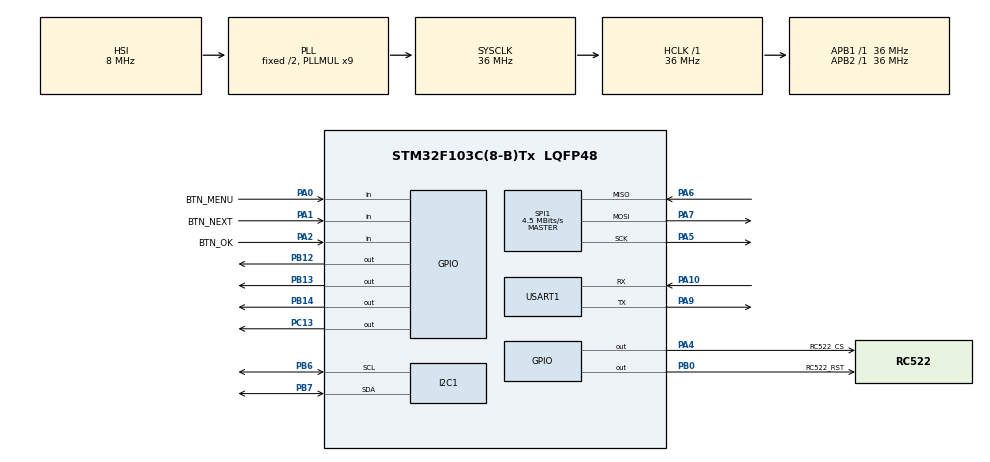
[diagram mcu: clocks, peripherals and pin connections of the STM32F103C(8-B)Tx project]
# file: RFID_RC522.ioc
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Mcu.Family=STM32F1
Mcu.Name=STM32F103C(8-B)Tx
Mcu.Package=LQFP48
NVIC.PriorityGroup=NVIC_PRIORITYGROUP_4
NVIC.USART1_IRQn=true\:0\:0\:false\:false\:true\:true\:true\:true
PA0-WKUP.GPIO_Label=BTN_MENU
PA0-WKUP.GPIO_Mode=GPIO_MODE_INPUT
PA0-WKUP.GPIO_PuPd=GPIO_PULLUP
PA0-WKUP.Signal=GPIO_Input
PA1.GPIO_Label=BTN_NEXT
PA1.GPIO_PuPd=GPIO_PULLUP
PA1.Signal=GPIO_Input
PA10.Mode=Asynchronous
PA10.Signal=USART1_RX
PA13.Mode=Serial_Wire
PA13.Signal=SYS_JTMS-SWDIO
PA14.Mode=Serial_Wire
PA14.Signal=SYS_JTCK-SWCLK
PA2.GPIO_Label=BTN_OK
PA2.GPIO_PuPd=GPIO_PULLUP
PA2.Signal=GPIO_Input
PA4.GPIO_Label=RC522_CS
PA4.PinState=GPIO_PIN_SET
PA4.Signal=GPIO_Output
PA5.Mode=Full_Duplex_Master
PA5.Signal=SPI1_SCK
PA6.Mode=Full_Duplex_Master
PA6.Signal=SPI1_MISO
PA7.Mode=Full_Duplex_Master
PA7.Signal=SPI1_MOSI
PA9.Mode=Asynchronous
PA9.Signal=USART1_TX
PB0.GPIO_Label=RC522_RST
PB0.PinState=GPIO_PIN_SET
PB0.Signal=GPIO_Output
PB12.Signal=GPIO_Output
PB13.Signal=GPIO_Output
PB14.Signal=GPIO_Output
PB6.Mode=I2C
PB6.Signal=I2C1_SCL
PB7.Mode=I2C
PB7.Signal=I2C1_SDA
PC13-TAMPER-RTC.Signal=GPIO_Output
PC14-OSC32_IN.Mode=LSE-External-Oscillator
PC14-OSC32_IN.Signal=RCC_OSC32_IN
PC15-OSC32_OUT.Mode=LSE-External-Oscillator
PC15-OSC32_OUT.Signal=RCC_OSC32_OUT
ProjectManager.HeapSize=0x200
ProjectManager.StackSize=0x400
ProjectManager.TargetToolchain=STM32CubeIDE
RCC.AHBFreq_Value=36000000
RCC.APB1Freq_Value=36000000
RCC.APB1TimFreq_Value=36000000
RCC.APB2Freq_Value=36000000
RCC.APB2TimFreq_Value=36000000
RCC.HCLKFreq_Value=36000000
RCC.PLLMUL=RCC_PLL_MUL9
RCC.SYSCLKFreq_VALUE=36000000
RCC.SYSCLKSource=RCC_SYSCLKSOURCE_PLLCLK
RCC.USBFreq_Value=36000000
SPI1.BaudRatePrescaler=SPI_BAUDRATEPRESCALER_8
SPI1.CalculateBaudRate=4.5 MBits/s
SPI1.Direction=SPI_DIRECTION_2LINES
SPI1.Mode=SPI_MODE_MASTER
SPI1.VirtualType=VM_MASTER
USART1.VirtualMode=VM_ASYNC
VP_RTC_No_RTC_Output.Mode=RTC_OUT_NO
VP_RTC_VS_RTC_Activate.Mode=RTC_Enabled
board=custom

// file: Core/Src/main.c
/* USER CODE BEGIN Header */
/**
  ******************************************************************************
  * @file           : main.c
  * @brief          : Main program body
  ******************************************************************************
  * @attention
  *
  * Copyright (c) 2026 STMicroelectronics.
  * All rights reserved.
  *
  * This software is licensed under terms that can be found in the LICENSE file
  * in the root directory of this software component.
  * If no LICENSE file comes with this software, it is provided AS-IS.
  *
  ******************************************************************************
  */
/* USER CODE END Header */
#include "main.h"

/* USER CODE BEGIN Includes */
#include "rfid_app.h"
#include <string.h>
#include <stdio.h>
#include "OLED.h"
#include "rc522.h"
#include "card_db.h"
#include "admin.h"
#include "flash.h"
#include "attlog.h"
#include "rtc_clock.h"
#include "uart_cmd.h"
#include "attendance.h"
/* USER CODE END Includes */

/* USER CODE BEGIN PTD */
#define APP_DEMO_MODE      0
/* USER CODE END PTD */

/* USER CODE BEGIN PD */

#define RESULT_SHOW_MS     3000u
/* USER CODE END PD */

I2C_HandleTypeDef hi2c1;

RTC_HandleTypeDef hrtc;

SPI_HandleTypeDef hspi1;

UART_HandleTypeDef huart1;

/* USER CODE BEGIN PV */
extern volatile RC522_UID rfid_last_uid;
extern volatile uint32_t  rfid_event_count;
/* USER CODE END PV */

void SystemClock_Config(void);
static void MX_GPIO_Init(void);
static void MX_SPI1_Init(void);
static void MX_USART1_UART_Init(void);
static void MX_I2C1_Init(void);
static void MX_RTC_Init(void);
/* USER CODE BEGIN PFP */
static void Uid_To_HexStr(const uint8_t *uid, uint8_t uid_len, char *out, size_t out_size);
static void App_ShowIdle(void);
static void App_ShowCardResult(const uint8_t *uid, uint8_t uid_len);
/* USER CODE END PFP */

/* USER CODE BEGIN 0 */
/* Chuyen UID dang byte sang chuoi hex, vd {0x12,0x34} -> "1234" */
static void Uid_To_HexStr(const uint8_t *uid, uint8_t uid_len, char *out, size_t out_size)
{
    size_t offset = 0;

    if ((out == NULL) || (out_size == 0u)) return;
    for (uint8_t i = 0; (uid != NULL) && (i < uid_len) && (offset + 2u < out_size); i++)
    {
        offset += (size_t)snprintf(out + offset, out_size - offset, "%02X", uid[i]);
    }
    out[offset] = '\0';
}

/* Man hinh cho (ve lai moi giay de cap nhat dong ho) */
static void App_ShowIdle(void)
{
    OLED_Clear();
    OLED_PrintCenter(0, "RFID ATTENDANCE");

    if (rtc_clock_is_set())
    {
        RtcDateTime dt;
        rtc_clock_to_datetime(rtc_clock_now(), &dt);
        OLED_Printf(1, " %02u/%02u/%04u %02u:%02u:%02u",
                    (unsigned)dt.day, (unsigned)dt.month, (unsigned)dt.year,
                    (unsigned)dt.hour, (unsigned)dt.minute, (unsigned)dt.second);
    }
    else
    {
        OLED_PrintCenter(1, "CLOCK NOT SET");
    }

    OLED_Printf(2, "Cards: %u  Admins: %u",
                (unsigned)card_db_count(), (unsigned)admin_get_count());
    OLED_Printf(3, "Present: %u/%u",
                (unsigned)attendance_count(), (unsigned)card_db_count());
    OLED_Printf(4, "Log: %u/%u",
                (unsigned)attlog_count(), (unsigned)attlog_capacity());

    if (admin_get_count() == 0u)
    {
        OLED_PrintCenter(6, "NO ADMIN CARD");
        OLED_PrintCenter(7, "Press MENU to setup");
    }
    else
    {
        OLED_PrintCenter(6, "Scan card to check in");
    }
    (void)OLED_Update();
}

/* Cham the nguoi dung = DIEM DANH:
 *   - hien ket qua len OLED
 *   - ghi nhat ky Flash (attlog) kem thoi gian RTC
 *   - gui 1 dong CSV qua UART:  ATT,<date>,<time>,<id>,"<ten>",<uid>,<ket qua> */
static void App_ShowCardResult(const uint8_t *uid, uint8_t uid_len)
{
    const CardEntry *entry = card_db_find_by_uid(uid, uid_len);
    char uid_str[2u * CARD_UID_MAX_LEN + 1u];
    char ts[24];
    char log[128];
    char id[12] = "-";
    AttLogResult res;
    AttTime t = {0};

    Uid_To_HexStr(uid, uid_len, uid_str, sizeof(uid_str));
    rtc_clock_format(rtc_clock_now(), ts, sizeof(ts));
    ts[10] = ',';                                   /* tach cot ngay, gio */

    OLED_Clear();
    if (entry == NULL)
    {
        res = ATTLOG_UNKNOWN;
        OLED_PrintCenter(0, "UNKNOWN CARD");
        OLED_PrintCenter(2, "Not registered");
    }
    else
    {
        (void)snprintf(id, sizeof(id), "%lu", (unsigned long)entry->card_id);
        if (!entry->enabled)
        {
            res = ATTLOG_LOCKED;
            OLED_PrintCenter(0, "CARD LOCKED");
            OLED_PrintCenter(2, entry->name);
            OLED_PrintCenter(4, "Contact admin");
        }
        else
        {
            AttResult r = attendance_check_in(entry->card_id, &t);
            res = (r == ATT_CHECKED_IN) ? ATTLOG_OK : ATTLOG_AGAIN;
            OLED_PrintCenter(0, (r == ATT_CHECKED_IN) ? "CHECK-IN OK" : "ALREADY CHECKED");
            OLED_PrintCenter(2, entry->name);
            OLED_Printf(3, "ID: %s", id);
            OLED_Printf(4, "Time: %02u:%02u:%02u",
                        (unsigned)t.hours, (unsigned)t.minutes, (unsigned)t.seconds);
        }
    }

    /* Ghi nhat ky Flash (quet lai trong ngay thi bo qua neu ATTLOG_SAVE_REPEAT = 0) */
    if ((res != ATTLOG_AGAIN) || ATTLOG_SAVE_REPEAT)
    {
        if (!attlog_append(res, (entry != NULL) ? entry->card_id : 0u, uid, uid_len))
        {
            uart_cmd_print("ERR: log write failed\r\n");
        }
    }

    OLED_Printf(6, "Present: %u/%u",
                (unsigned)attendance_count(), (unsigned)card_db_count());
    OLED_Printf(7, "UID:%s", uid_str);
    (void)OLED_Update();

    (void)snprintf(log, sizeof(log), "ATT,%s,%s,\"%s\",%s,%s\r\n",
                   ts, id, (entry != NULL) ? entry->name : "", uid_str,
                   attlog_result_str((uint8_t)res));
    uart_cmd_print(log);
}

/* USER CODE END 0 */

int main(void)
{

  /* USER CODE BEGIN 1 */
  uint32_t last_event = 0;
  uint32_t result_until = 0;
  uint32_t last_clock_sec = 0;
  uint8_t  showing_result = 0;
  /* USER CODE END 1 */

  /* MCU Configuration--------------------------------------------------------*/

  /* Reset of all peripherals, Initializes the Flash interface and the Systick. */
  HAL_Init();

  /* Configure the system clock */
  SystemClock_Config();

  /* USER CODE BEGIN SysInit */
  HAL_Delay(2000);   /* cho OLED va RC522 on dinh nguon */
  /* USER CODE END SysInit */

  /* Initialize all configured peripherals */
  MX_GPIO_Init();
  MX_SPI1_Init();
  MX_USART1_UART_Init();
  MX_I2C1_Init();
  MX_RTC_Init();
  /* USER CODE BEGIN 2 */
  uart_cmd_init(&huart1);
  if (!OLED_Init(&hi2c1))
  {
      uart_cmd_print("OLED init FAILED\r\n");
  }

  /* Thu tu khoi tao quan trong: the/admin -> dong ho -> nhat ky -> diem danh */
  card_db_init();
  admin_init();
  if (!flash_store_load())
  {
      uart_cmd_print("FLASH: no card data, press MENU to add first admin card\r\n");
  }
  rtc_clock_init(&hrtc);
  attlog_init();
  attendance_init();
  attendance_restore_from_log();     /* mat dien giua buoi van giu danh sach co mat */

  {
      char buf[96];
      char ts[24];
      rtc_clock_format(rtc_clock_now(), ts, sizeof(ts));
      (void)snprintf(buf, sizeof(buf), "BOOT: cards=%u log=%u/%u time=%s%s\r\n",
                     (unsigned)card_db_count(), (unsigned)attlog_count(),
                     (unsigned)attlog_capacity(), ts,
                     rtc_clock_is_set() ? "" : " (NOT SET: TIME YYYY-MM-DD HH:MM:SS)");
      uart_cmd_print(buf);
  }

  RFID_App_Init(&hspi1, &huart1);

  App_ShowIdle();
  last_event = rfid_event_count;
  last_clock_sec = rtc_clock_now();
  /* USER CODE END 2 */

  /* Infinite loop */
  while (1)
  {

    /* USER CODE BEGIN 3 */
    RFID_App_Task();   /* quet RC522 (khong chan), cap nhat rfid_last_uid */
    uart_cmd_task();   /* lenh UART: TIME, LOG, LIST, NAME, STAT... */

    /* Nut bam + menu admin; tra true khi vua thoat che do admin */
    if (admin_task())
    {
        showing_result = 0;
        App_ShowIdle();
    }

    /* Co the moi duoc quet */
    if (rfid_event_count != last_event)
    {
        RC522_UID uid;

        last_event = rfid_event_count;
        uid.size = rfid_last_uid.size;
        if (uid.size > sizeof(uid.bytes)) uid.size = sizeof(uid.bytes);
        for (uint8_t i = 0; i < uid.size; i++) uid.bytes[i] = rfid_last_uid.bytes[i];

        if (admin_is_active())
        {
            admin_on_card(uid.bytes, uid.size);          /* dang o menu admin */
        }
        else if (admin_is_admin_uid(uid.bytes, uid.size))
        {
            showing_result = 0;
            uart_cmd_print("ADMIN: login\r\n");
            admin_enter();                               /* the admin -> vao menu */
        }
        else
        {
            App_ShowCardResult(uid.bytes, uid.size);     /* the nguoi dung -> diem danh */
            result_until = HAL_GetTick() + RESULT_SHOW_MS;
            showing_result = 1;
        }
    }

    if (!admin_is_active())
    {
        /* Het thoi gian hien ket qua -> ve man hinh cho */
        if (showing_result && (int32_t)(HAL_GetTick() - result_until) >= 0)
        {
            showing_result = 0;
            App_ShowIdle();
        }
        /* Man hinh cho: cap nhat dong ho moi giay */
        else if (!showing_result && (rtc_clock_now() != last_clock_sec))
        {
            last_clock_sec = rtc_clock_now();
            App_ShowIdle();
        }
    }
  }
  /* USER CODE END 3 */
}

void SystemClock_Config(void)
{
  RCC_OscInitTypeDef RCC_OscInitStruct = {0};
  RCC_ClkInitTypeDef RCC_ClkInitStruct = {0};
  RCC_PeriphCLKInitTypeDef PeriphClkInit = {0};

  /** Initializes the RCC Oscillators according to the specified parameters
  * in the RCC_OscInitTypeDef structure.
  */
  RCC_OscInitStruct.OscillatorType = RCC_OSCILLATORTYPE_HSI|RCC_OSCILLATORTYPE_LSI;
  RCC_OscInitStruct.HSIState = RCC_HSI_ON;
  RCC_OscInitStruct.HSICalibrationValue = RCC_HSICALIBRATION_DEFAULT;
  RCC_OscInitStruct.LSIState = RCC_LSI_ON;
  RCC_OscInitStruct.PLL.PLLState = RCC_PLL_ON;
  RCC_OscInitStruct.PLL.PLLSource = RCC_PLLSOURCE_HSI_DIV2;
  RCC_OscInitStruct.PLL.PLLMUL = RCC_PLL_MUL9;
  if (HAL_RCC_OscConfig(&RCC_OscInitStruct) != HAL_OK)
  {
    Error_Handler();
  }

  /** Initializes the CPU, AHB and APB buses clocks
  */
  RCC_ClkInitStruct.ClockType = RCC_CLOCKTYPE_HCLK|RCC_CLOCKTYPE_SYSCLK
                              |RCC_CLOCKTYPE_PCLK1|RCC_CLOCKTYPE_PCLK2;
  RCC_ClkInitStruct.SYSCLKSource = RCC_SYSCLKSOURCE_PLLCLK;
  RCC_ClkInitStruct.AHBCLKDivider = RCC_SYSCLK_DIV1;
  RCC_ClkInitStruct.APB1CLKDivider = RCC_HCLK_DIV1;
  RCC_ClkInitStruct.APB2CLKDivider = RCC_HCLK_DIV1;

  if (HAL_RCC_ClockConfig(&RCC_ClkInitStruct, FLASH_LATENCY_1) != HAL_OK)
  {
    Error_Handler();
  }
  PeriphClkInit.PeriphClockSelection = RCC_PERIPHCLK_RTC;
  PeriphClkInit.RTCClockSelection = RCC_RTCCLKSOURCE_LSI;
  if (HAL_RCCEx_PeriphCLKConfig(&PeriphClkInit) != HAL_OK)
  {
    Error_Handler();
  }
}

static void MX_I2C1_Init(void)
{

  hi2c1.Instance = I2C1;
  hi2c1.Init.ClockSpeed = 100000;
  hi2c1.Init.DutyCycle = I2C_DUTYCYCLE_2;
  hi2c1.Init.OwnAddress1 = 0;
  hi2c1.Init.AddressingMode = I2C_ADDRESSINGMODE_7BIT;
  hi2c1.Init.DualAddressMode = I2C_DUALADDRESS_DISABLE;
  hi2c1.Init.OwnAddress2 = 0;
  hi2c1.Init.GeneralCallMode = I2C_GENERALCALL_DISABLE;
  hi2c1.Init.NoStretchMode = I2C_NOSTRETCH_DISABLE;
  if (HAL_I2C_Init(&hi2c1) != HAL_OK)
  {
    Error_Handler();
  }

}

static void MX_RTC_Init(void)
{

  RTC_TimeTypeDef sTime = {0};
  RTC_DateTypeDef DateToUpdate = {0};

  /** Initialize RTC Only
  */
  hrtc.Instance = RTC;
  hrtc.Init.AsynchPrediv = RTC_AUTO_1_SECOND;
  hrtc.Init.OutPut = RTC_OUTPUTSOURCE_NONE;
  if (HAL_RTC_Init(&hrtc) != HAL_OK)
  {
    Error_Handler();
  }

  /* USER CODE BEGIN Check_RTC_BKUP */
  /* Gio da duoc dat (qua lenh TIME) -> giu nguyen bo dem RTC, khong reset ve 0 */
  if (HAL_RTCEx_BKUPRead(&hrtc, RTC_CLOCK_BKP_REG) == RTC_CLOCK_MAGIC)
  {
    return;
  }
  /* USER CODE END Check_RTC_BKUP */

  /** Initialize RTC and set the Time and Date
  */
  sTime.Hours = 0x0;
  sTime.Minutes = 0x0;
  sTime.Seconds = 0x0;

  if (HAL_RTC_SetTime(&hrtc, &sTime, RTC_FORMAT_BCD) != HAL_OK)
  {
    Error_Handler();
  }
  DateToUpdate.WeekDay = RTC_WEEKDAY_MONDAY;
  DateToUpdate.Month = RTC_MONTH_JANUARY;
  DateToUpdate.Date = 0x1;
  DateToUpdate.Year = 0x0;

  if (HAL_RTC_SetDate(&hrtc, &DateToUpdate, RTC_FORMAT_BCD) != HAL_OK)
  {
    Error_Handler();
  }

}

static void MX_SPI1_Init(void)
{

  /* SPI1 parameter configuration*/
  hspi1.Instance = SPI1;
  hspi1.Init.Mode = SPI_MODE_MASTER;
  hspi1.Init.Direction = SPI_DIRECTION_2LINES;
  hspi1.Init.DataSize = SPI_DATASIZE_8BIT;
  hspi1.Init.CLKPolarity = SPI_POLARITY_LOW;
  hspi1.Init.CLKPhase = SPI_PHASE_1EDGE;
  hspi1.Init.NSS = SPI_NSS_SOFT;
  hspi1.Init.BaudRatePrescaler = SPI_BAUDRATEPRESCALER_8;
  hspi1.Init.FirstBit = SPI_FIRSTBIT_MSB;
  hspi1.Init.TIMode = SPI_TIMODE_DISABLE;
  hspi1.Init.CRCCalculation = SPI_CRCCALCULATION_DISABLE;
  hspi1.Init.CRCPolynomial = 10;
  if (HAL_SPI_Init(&hspi1) != HAL_OK)
  {
    Error_Handler();
  }

}

static void MX_USART1_UART_Init(void)
{

  huart1.Instance = USART1;
  huart1.Init.BaudRate = 115200;
  huart1.Init.WordLength = UART_WORDLENGTH_8B;
  huart1.Init.StopBits = UART_STOPBITS_1;
  huart1.Init.Parity = UART_PARITY_NONE;
  huart1.Init.Mode = UART_MODE_TX_RX;
  huart1.Init.HwFlowCtl = UART_HWCONTROL_NONE;
  huart1.Init.OverSampling = UART_OVERSAMPLING_16;
  if (HAL_UART_Init(&huart1) != HAL_OK)
  {
    Error_Handler();
  }

}

static void MX_GPIO_Init(void)
{
  GPIO_InitTypeDef GPIO_InitStruct = {0};

  /* GPIO Ports Clock Enable */
  __HAL_RCC_GPIOC_CLK_ENABLE();
  __HAL_RCC_GPIOA_CLK_ENABLE();
  __HAL_RCC_GPIOB_CLK_ENABLE();

  /*Configure GPIO pin Output Level */
  HAL_GPIO_WritePin(GPIOC, GPIO_PIN_13, GPIO_PIN_RESET);

  /*Configure GPIO pin Output Level */
  HAL_GPIO_WritePin(RC522_CS_GPIO_Port, RC522_CS_Pin, GPIO_PIN_SET);

  /*Configure GPIO pin Output Level */
  HAL_GPIO_WritePin(RC522_RST_GPIO_Port, RC522_RST_Pin, GPIO_PIN_SET);

  /*Configure GPIO pin Output Level */
  HAL_GPIO_WritePin(GPIOB, GPIO_PIN_12|GPIO_PIN_13|GPIO_PIN_14, GPIO_PIN_RESET);

  /*Configure GPIO pin : PC13 */
  GPIO_InitStruct.Pin = GPIO_PIN_13;
  GPIO_InitStruct.Mode = GPIO_MODE_OUTPUT_PP;
  GPIO_InitStruct.Pull = GPIO_NOPULL;
  GPIO_InitStruct.Speed = GPIO_SPEED_FREQ_LOW;
  HAL_GPIO_Init(GPIOC, &GPIO_InitStruct);

  /*Configure GPIO pins : BTN_MENU_Pin BTN_NEXT_Pin BTN_OK_Pin */
  GPIO_InitStruct.Pin = BTN_MENU_Pin|BTN_NEXT_Pin|BTN_OK_Pin;
  GPIO_InitStruct.Mode = GPIO_MODE_INPUT;
  GPIO_InitStruct.Pull = GPIO_PULLUP;
  HAL_GPIO_Init(GPIOA, &GPIO_InitStruct);

  /*Configure GPIO pin : RC522_CS_Pin */
  GPIO_InitStruct.Pin = RC522_CS_Pin;
  GPIO_InitStruct.Mode = GPIO_MODE_OUTPUT_PP;
  GPIO_InitStruct.Pull = GPIO_NOPULL;
  GPIO_InitStruct.Speed = GPIO_SPEED_FREQ_LOW;
  HAL_GPIO_Init(RC522_CS_GPIO_Port, &GPIO_InitStruct);

  /*Configure GPIO pins : RC522_RST_Pin PB12 PB13 PB14 */
  GPIO_InitStruct.Pin = RC522_RST_Pin|GPIO_PIN_12|GPIO_PIN_13|GPIO_PIN_14;
  GPIO_InitStruct.Mode = GPIO_MODE_OUTPUT_PP;
  GPIO_InitStruct.Pull = GPIO_NOPULL;
  GPIO_InitStruct.Speed = GPIO_SPEED_FREQ_LOW;
  HAL_GPIO_Init(GPIOB, &GPIO_InitStruct);

}

void Error_Handler(void)
{
  __disable_irq();
  while (1)
  {
  }
}
